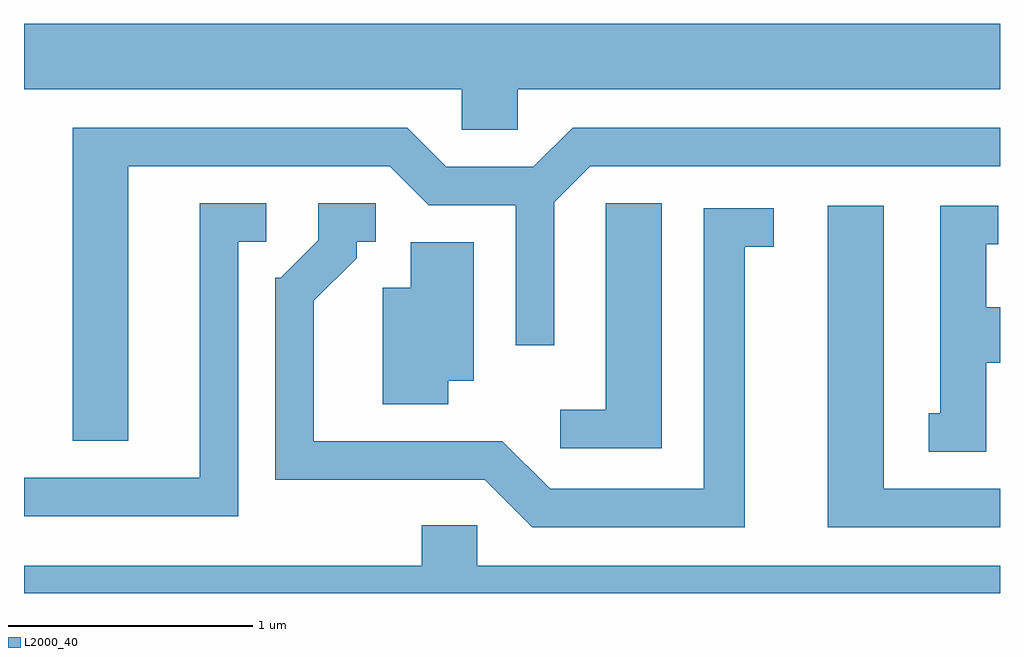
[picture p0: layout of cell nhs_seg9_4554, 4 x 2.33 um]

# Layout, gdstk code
import gdstk
lib = gdstk.Library(unit=1e-6, precision=1e-09)
def P(c, l, *ps):  # polygons
    for p in ps: c.add(gdstk.Polygon(p, *l))
L2000_40 = (2000, 40)

nhs_seg9_4554 = lib.new_cell('nhs_seg9_4554')
P(nhs_seg9_4554, L2000_40, [(321.634,1978.496),(323.611,1978.496),(323.611,1978.764),(319.611,1978.764),(319.611,1978.496),(321.406,1978.496),(321.406,1978.331),(321.634,1978.331)],
  [(320.039,1978.181),(321.109,1978.181),(321.269,1978.021),(321.626,1978.021),(321.626,1977.448),(321.784,1977.448),(321.784,1978.034),(321.932,1978.181),(323.611,1978.181),(323.611,1978.339),(321.859,1978.339),(321.699,1978.179),(321.342,1978.179),(321.182,1978.339),(319.811,1978.339),(319.811,1977.056),(320.039,1977.056)],
  [(322.564,1977.851),(322.683,1977.851),(322.683,1978.009),(322.396,1978.009),(322.396,1976.859),(321.767,1976.859),(321.572,1977.054),(320.799,1977.054),(320.799,1977.629),(320.974,1977.804),(320.974,1977.871),(321.053,1977.871),(321.053,1978.029),(320.816,1978.029),(320.816,1977.877),(320.664,1977.724),(320.641,1977.724),(320.641,1976.896),(321.499,1976.896),(321.694,1976.701),(322.564,1976.701)],
  [(322.224,1978.029),(321.996,1978.029),(321.996,1977.184),(321.808,1977.184),(321.808,1977.026),(322.224,1977.026)],
  [(320.489,1977.871),(320.603,1977.871),(320.603,1978.029),(320.331,1978.029),(320.331,1976.904),(319.611,1976.904),(319.611,1976.746),(320.489,1976.746)],
  [(323.554,1977.376),(323.611,1977.376),(323.611,1977.604),(323.554,1977.604),(323.554,1977.861),(323.603,1977.861),(323.603,1978.019),(323.366,1978.019),(323.366,1977.169),(323.318,1977.169),(323.318,1977.011),(323.554,1977.011)],
  [(323.611,1976.859),(323.134,1976.859),(323.134,1978.019),(322.906,1978.019),(322.906,1976.701),(323.611,1976.701)],
  [(321.349,1977.301),(321.454,1977.301),(321.454,1977.869),(321.196,1977.869),(321.196,1977.684),(321.081,1977.684),(321.081,1977.206),(321.349,1977.206)],
  [(323.611,1976.544),(321.469,1976.544),(321.469,1976.709),(321.241,1976.709),(321.241,1976.544),(319.611,1976.544),(319.611,1976.432),(323.611,1976.432)])

lib.write_gds('nhs_seg9_4554.gds')
